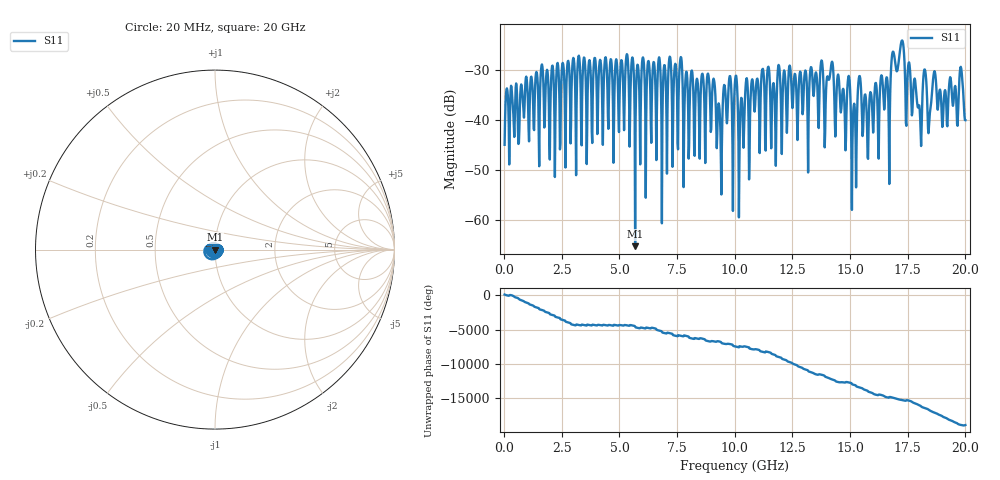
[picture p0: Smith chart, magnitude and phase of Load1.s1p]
! File created by SignalIntegrity v1.1.10: Signal and Power Integrity Tools
! https://github.com/TeledyneLeCroy/SignalIntegrity
# MHz S MA R 50.0
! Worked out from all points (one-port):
!   1000 points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, 20 MHz to 20 GHz, reference 50 ohm
!   lowest |S11| = -65.2 dB at 5.68 GHz (marker M1), VSWR 1.00, Z = 50 + j0.0495 ohm
!   |S11| at or under -10 dB: start of sweep to end of sweep
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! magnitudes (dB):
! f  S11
! 20 MHz  -45.0
! 2.52 GHz  -28.9
! 5.02 GHz  -32.5
! 5.68 GHz  -65.2
! 7.52 GHz  -44.6
! 9.1 GHz  -32.0
! 9.32 GHz  -37.0
! 10.02 GHz  -31.8
! 10.28 GHz  -35.6
! 10.5 GHz  -31.8
! 12.52 GHz  -36.7
! 13.96 GHz  -33.9
! 14.18 GHz  -29.1
! 15.02 GHz  -36.3
! 15.16 GHz  -37.0
! 15.4 GHz  -31.2
! 15.74 GHz  -42.1
! 16.64 GHz  -33.6
! 16.86 GHz  -26.3
! 17.24 GHz  -24.1
! 17.52 GHz  -29.1
! 18.02 GHz  -38.0
! 18.24 GHz  -29.9
! 18.44 GHz  -39.7
! 18.64 GHz  -30.5
! 19.1 GHz  -34.2
! 19.82 GHz  -29.7
! 20 GHz  -40.0
